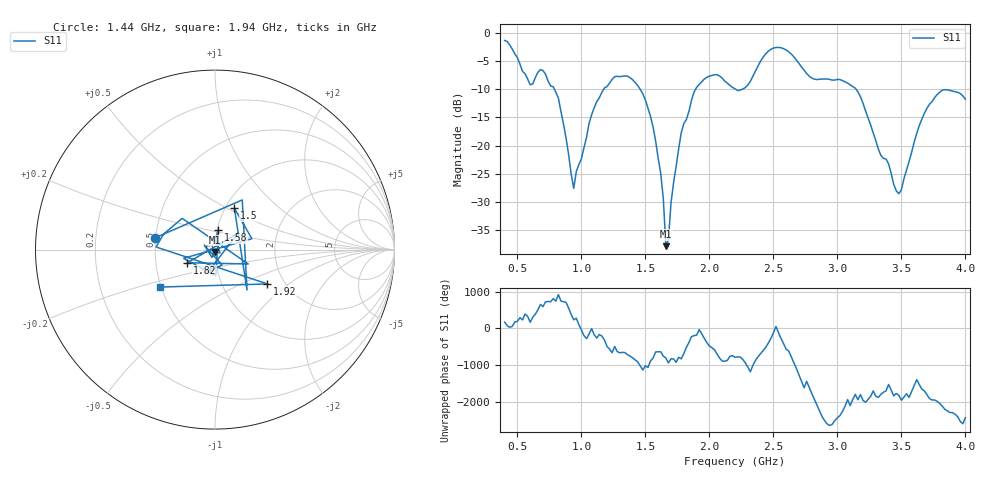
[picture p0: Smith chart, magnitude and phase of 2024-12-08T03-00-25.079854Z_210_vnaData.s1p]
!Created with skrf (http://scikit-rf.org).
# Hz S RI R 50.0
!freq ReS11 ImS11
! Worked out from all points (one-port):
!   181 points, 400 MHz to 4 GHz, reference 50 ohm
!   lowest |S11| = -37.8 dB at 1.66 GHz (marker M1), VSWR 1.03, Z = 50 - j1.28 ohm
!   |S11| at or under -10 dB: 789.7 MHz to 1.174 GHz (383.9 MHz wide, 39.1 % of centre); 1.46 GHz to 1.892 GHz (432.2 MHz wide, 25.8 % of centre); 3.146 GHz to end of sweep (the widest 3 of 4)
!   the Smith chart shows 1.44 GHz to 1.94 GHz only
!   S11 on the Smith chart (normalised r, x): 1.44 GHz: 0.49, +0.07; 1.5 GHz: 1.10, +0.54; 1.58 GHz: 1.01, +0.22; 1.82 GHz: 0.73, -0.11; 1.92 GHz: 1.63, -0.71; 1.94 GHz: 0.50, -0.24
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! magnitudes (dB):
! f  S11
! 400 MHz  -1.3
! 600 MHz  -9.2
! 720 MHz  -7.3
! 860 MHz  -16.1
! 940 MHz  -27.6
! 1.1 GHz  -13.3
! 1.3 GHz  -7.8
! 1.44 GHz  -9.3
! 1.5 GHz  -11.9
! 1.58 GHz  -19.2
! 1.64 GHz  -29.5
! 1.66 GHz  -37.8
! 1.68 GHz  -36.7
! 1.7 GHz  -30.2
! 1.76 GHz  -20.5
! 1.82 GHz  -15.4
! 1.92 GHz  -9.1
! 1.94 GHz  -8.7
! 2.2 GHz  -9.9
! 2.48 GHz  -2.9
! 2.66 GHz  -4.2
! 2.8 GHz  -8.0
! 3.1 GHz  -9.2
! 3.46 GHz  -28.0
! 3.56 GHz  -22.8
! 3.66 GHz  -15.3
! 3.78 GHz  -10.9
! 4 GHz  -11.8
